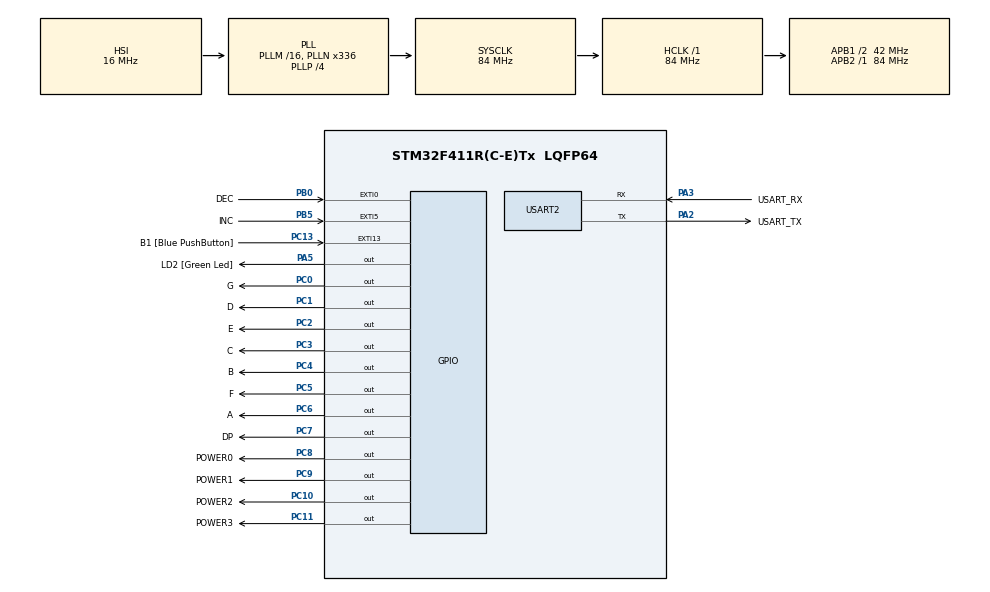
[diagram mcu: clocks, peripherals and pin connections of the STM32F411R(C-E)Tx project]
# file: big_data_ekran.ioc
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Mcu.Family=STM32F4
Mcu.Name=STM32F411R(C-E)Tx
Mcu.Package=LQFP64
NVIC.EXTI0_IRQn=true\:0\:0\:false\:false\:true\:true\:true\:true
NVIC.EXTI9_5_IRQn=true\:0\:0\:false\:false\:true\:true\:true\:true
NVIC.PriorityGroup=NVIC_PRIORITYGROUP_0
NVIC.TIM1_TRG_COM_TIM11_IRQn=true\:0\:0\:false\:false\:true\:true\:true\:true
PA13.GPIO_Label=TMS
PA13.Mode=Serial_Wire
PA13.Signal=SYS_JTMS-SWDIO
PA14.GPIO_Label=TCK
PA14.Mode=Serial_Wire
PA14.Signal=SYS_JTCK-SWCLK
PA2.GPIO_Label=USART_TX
PA2.Mode=Asynchronous
PA2.Signal=USART2_TX
PA3.GPIO_Label=USART_RX
PA3.Mode=Asynchronous
PA3.Signal=USART2_RX
PA5.GPIO_Label=LD2 [Green Led]
PA5.Signal=GPIO_Output
PB0.GPIO_Label=DEC
PB0.GPIO_ModeDefaultEXTI=GPIO_MODE_IT_FALLING
PB0.GPIO_PuPd=GPIO_PULLUP
PB0.Signal=GPXTI0
PB3.GPIO_Label=SWO
PB3.Signal=SYS_JTDO-SWO
PB5.GPIO_Label=INC
PB5.GPIO_ModeDefaultEXTI=GPIO_MODE_IT_FALLING
PB5.GPIO_PuPd=GPIO_PULLUP
PB5.Signal=GPXTI5
PC0.GPIO_Label=G
PC0.Signal=GPIO_Output
PC1.GPIO_Label=D
PC1.Signal=GPIO_Output
PC10.GPIO_Label=POWER2
PC10.Signal=GPIO_Output
PC11.GPIO_Label=POWER3
PC11.Signal=GPIO_Output
PC13-ANTI_TAMP.GPIO_Label=B1 [Blue PushButton]
PC13-ANTI_TAMP.GPIO_ModeDefaultEXTI=GPIO_MODE_IT_FALLING
PC13-ANTI_TAMP.Signal=GPXTI13
PC14-OSC32_IN.Mode=LSE-External-Oscillator
PC14-OSC32_IN.Signal=RCC_OSC32_IN
PC15-OSC32_OUT.Mode=LSE-External-Oscillator
PC15-OSC32_OUT.Signal=RCC_OSC32_OUT
PC2.GPIO_Label=E
PC2.Signal=GPIO_Output
PC3.GPIO_Label=C
PC3.Signal=GPIO_Output
PC4.GPIO_Label=B
PC4.Signal=GPIO_Output
PC5.GPIO_Label=F
PC5.Signal=GPIO_Output
PC6.GPIO_Label=A
PC6.Signal=GPIO_Output
PC7.GPIO_Label=DP
PC7.Signal=GPIO_Output
PC8.GPIO_Label=POWER0
PC8.Signal=GPIO_Output
PC9.GPIO_Label=POWER1
PC9.Signal=GPIO_Output
PH0\ -\ OSC_IN.Mode=HSE-External-Clock-Source
PH0\ -\ OSC_IN.Signal=RCC_OSC_IN
PH1\ -\ OSC_OUT.Mode=HSE-External-Clock-Source
PH1\ -\ OSC_OUT.Signal=RCC_OSC_OUT
ProjectManager.HeapSize=0x200
ProjectManager.StackSize=0x400
ProjectManager.TargetToolchain=STM32CubeIDE
RCC.48MHZClocksFreq_Value=84000000
RCC.AHBFreq_Value=84000000
RCC.APB1CLKDivider=RCC_HCLK_DIV2
RCC.APB1Freq_Value=42000000
RCC.APB1TimFreq_Value=84000000
RCC.APB2Freq_Value=84000000
RCC.APB2TimFreq_Value=84000000
RCC.CortexFreq_Value=84000000
RCC.FLatency-AdvancedSettings=FLASH_LATENCY_2
RCC.HCLKFreq_Value=84000000
RCC.HSE_VALUE=8000000
RCC.HSI_VALUE=16000000
RCC.PLLN=336
RCC.PLLP=RCC_PLLP_DIV4
RCC.SYSCLKFreq_VALUE=84000000
RCC.SYSCLKSource=RCC_SYSCLKSOURCE_PLLCLK
RCC.VCOOutputFreq_Value=336000000
TIM11.Period=20
TIM11.Prescaler=8399
USART2.VirtualMode=VM_ASYNC
VP_TIM11_VS_ClockSourceINT.Mode=Enable_Timer
board=NUCLEO-F411RE

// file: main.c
/* USER CODE BEGIN Header */
/**
  ******************************************************************************
  * @file           : main.c
  * @brief          : Main program body
  ******************************************************************************
  * @attention
  *
  * Copyright (c) 2023 STMicroelectronics.
  * All rights reserved.
  *
  * This software is licensed under terms that can be found in the LICENSE file
  * in the root directory of this software component.
  * If no LICENSE file comes with this software, it is provided AS-IS.
  *
  ******************************************************************************
  */
/* USER CODE END Header */
#include "main.h"

TIM_HandleTypeDef htim11;

UART_HandleTypeDef huart2;

/* USER CODE BEGIN PV */
volatile uint16_t numberToWrite;
volatile uint8_t singleNumber[4];

uint16_t buttonNumber = 0;

volatile uint32_t lastInterrupt = 0;

void turn_off() {

	HAL_GPIO_WritePin(POWER0_GPIO_Port, POWER0_Pin, GPIO_PIN_SET);
	HAL_GPIO_WritePin(POWER1_GPIO_Port, POWER1_Pin, GPIO_PIN_SET);
	HAL_GPIO_WritePin(POWER2_GPIO_Port, POWER2_Pin, GPIO_PIN_SET);
	HAL_GPIO_WritePin(POWER3_GPIO_Port, POWER3_Pin, GPIO_PIN_SET);
}

void set_power_line(uint8_t number) {

	switch(number) {

	case 0:
		HAL_GPIO_WritePin(POWER0_GPIO_Port, POWER0_Pin, GPIO_PIN_RESET);
		HAL_GPIO_WritePin(POWER1_GPIO_Port, POWER1_Pin, GPIO_PIN_SET);
		HAL_GPIO_WritePin(POWER2_GPIO_Port, POWER2_Pin, GPIO_PIN_SET);
		HAL_GPIO_WritePin(POWER3_GPIO_Port, POWER3_Pin, GPIO_PIN_SET);
		break;

	case 1:
		HAL_GPIO_WritePin(POWER0_GPIO_Port, POWER0_Pin, GPIO_PIN_SET);
		HAL_GPIO_WritePin(POWER1_GPIO_Port, POWER1_Pin, GPIO_PIN_RESET);
		HAL_GPIO_WritePin(POWER2_GPIO_Port, POWER2_Pin, GPIO_PIN_SET);
		HAL_GPIO_WritePin(POWER3_GPIO_Port, POWER3_Pin, GPIO_PIN_SET);
		break;

	case 2:
		HAL_GPIO_WritePin(POWER0_GPIO_Port, POWER0_Pin, GPIO_PIN_SET);
		HAL_GPIO_WritePin(POWER1_GPIO_Port, POWER1_Pin, GPIO_PIN_SET);
		HAL_GPIO_WritePin(POWER2_GPIO_Port, POWER2_Pin, GPIO_PIN_RESET);
		HAL_GPIO_WritePin(POWER3_GPIO_Port, POWER3_Pin, GPIO_PIN_SET);
		break;

	case 3:
		HAL_GPIO_WritePin(POWER0_GPIO_Port, POWER0_Pin, GPIO_PIN_SET);
		HAL_GPIO_WritePin(POWER1_GPIO_Port, POWER1_Pin, GPIO_PIN_SET);
		HAL_GPIO_WritePin(POWER2_GPIO_Port, POWER2_Pin, GPIO_PIN_SET);
		HAL_GPIO_WritePin(POWER3_GPIO_Port, POWER3_Pin, GPIO_PIN_RESET);
		break;
	}
}

void set_diodes(uint8_t number) {

	switch(number) {

	case -1:
		turn_off();
		break;

	case 0:
		HAL_GPIO_WritePin(A_GPIO_Port, A_Pin, GPIO_PIN_SET);
		HAL_GPIO_WritePin(G_GPIO_Port, G_Pin, GPIO_PIN_RESET);
		HAL_GPIO_WritePin(D_GPIO_Port, D_Pin, GPIO_PIN_SET);
		HAL_GPIO_WritePin(F_GPIO_Port, F_Pin, GPIO_PIN_SET);
		HAL_GPIO_WritePin(E_GPIO_Port, E_Pin, GPIO_PIN_SET);
		HAL_GPIO_WritePin(B_GPIO_Port, B_Pin, GPIO_PIN_SET);
		HAL_GPIO_WritePin(C_GPIO_Port, C_Pin, GPIO_PIN_SET);
		HAL_GPIO_WritePin(DP_GPIO_Port, DP_Pin, GPIO_PIN_RESET);
		break;

	case 1:
		HAL_GPIO_WritePin(A_GPIO_Port, A_Pin, GPIO_PIN_RESET);
		HAL_GPIO_WritePin(G_GPIO_Port, G_Pin, GPIO_PIN_RESET);
		HAL_GPIO_WritePin(D_GPIO_Port, D_Pin, GPIO_PIN_RESET);
		HAL_GPIO_WritePin(F_GPIO_Port, F_Pin, GPIO_PIN_RESET);
		HAL_GPIO_WritePin(E_GPIO_Port, E_Pin, GPIO_PIN_RESET);
		HAL_GPIO_WritePin(B_GPIO_Port, B_Pin, GPIO_PIN_SET);
		HAL_GPIO_WritePin(C_GPIO_Port, C_Pin, GPIO_PIN_SET);
		HAL_GPIO_WritePin(DP_GPIO_Port, DP_Pin, GPIO_PIN_RESET);
		break;

	case 2:
		HAL_GPIO_WritePin(A_GPIO_Port, A_Pin, GPIO_PIN_SET);
		HAL_GPIO_WritePin(G_GPIO_Port, G_Pin, GPIO_PIN_SET);
		HAL_GPIO_WritePin(D_GPIO_Port, D_Pin, GPIO_PIN_SET);
		HAL_GPIO_WritePin(F_GPIO_Port, F_Pin, GPIO_PIN_RESET);
		HAL_GPIO_WritePin(E_GPIO_Port, E_Pin, GPIO_PIN_SET);
		HAL_GPIO_WritePin(B_GPIO_Port, B_Pin, GPIO_PIN_SET);
		HAL_GPIO_WritePin(C_GPIO_Port, C_Pin, GPIO_PIN_RESET);
		HAL_GPIO_WritePin(DP_GPIO_Port, DP_Pin, GPIO_PIN_RESET);
		break;

	case 3:
		HAL_GPIO_WritePin(A_GPIO_Port, A_Pin, GPIO_PIN_SET);
		HAL_GPIO_WritePin(G_GPIO_Port, G_Pin, GPIO_PIN_SET);
		HAL_GPIO_WritePin(D_GPIO_Port, D_Pin, GPIO_PIN_SET);
		HAL_GPIO_WritePin(F_GPIO_Port, F_Pin, GPIO_PIN_RESET);
		HAL_GPIO_WritePin(E_GPIO_Port, E_Pin, GPIO_PIN_RESET);
		HAL_GPIO_WritePin(B_GPIO_Port, B_Pin, GPIO_PIN_SET);
		HAL_GPIO_WritePin(C_GPIO_Port, C_Pin, GPIO_PIN_SET);
		HAL_GPIO_WritePin(DP_GPIO_Port, DP_Pin, GPIO_PIN_RESET);
		break;

	case 4:
		HAL_GPIO_WritePin(A_GPIO_Port, A_Pin, GPIO_PIN_RESET);
		HAL_GPIO_WritePin(G_GPIO_Port, G_Pin, GPIO_PIN_SET);
		HAL_GPIO_WritePin(D_GPIO_Port, D_Pin, GPIO_PIN_RESET);
		HAL_GPIO_WritePin(F_GPIO_Port, F_Pin, GPIO_PIN_SET);
		HAL_GPIO_WritePin(E_GPIO_Port, E_Pin, GPIO_PIN_RESET);
		HAL_GPIO_WritePin(B_GPIO_Port, B_Pin, GPIO_PIN_SET);
		HAL_GPIO_WritePin(C_GPIO_Port, C_Pin, GPIO_PIN_SET);
		HAL_GPIO_WritePin(DP_GPIO_Port, DP_Pin, GPIO_PIN_RESET);
		break;

	case 5:
		HAL_GPIO_WritePin(A_GPIO_Port, A_Pin, GPIO_PIN_SET);
		HAL_GPIO_WritePin(G_GPIO_Port, G_Pin, GPIO_PIN_SET);
		HAL_GPIO_WritePin(D_GPIO_Port, D_Pin, GPIO_PIN_SET);
		HAL_GPIO_WritePin(F_GPIO_Port, F_Pin, GPIO_PIN_SET);
		HAL_GPIO_WritePin(E_GPIO_Port, E_Pin, GPIO_PIN_RESET);
		HAL_GPIO_WritePin(B_GPIO_Port, B_Pin, GPIO_PIN_RESET);
		HAL_GPIO_WritePin(C_GPIO_Port, C_Pin, GPIO_PIN_SET);
		HAL_GPIO_WritePin(DP_GPIO_Port, DP_Pin, GPIO_PIN_RESET);
		break;

	case 6:
		HAL_GPIO_WritePin(A_GPIO_Port, A_Pin, GPIO_PIN_SET);
		HAL_GPIO_WritePin(G_GPIO_Port, G_Pin, GPIO_PIN_SET);
		HAL_GPIO_WritePin(D_GPIO_Port, D_Pin, GPIO_PIN_SET);
		HAL_GPIO_WritePin(F_GPIO_Port, F_Pin, GPIO_PIN_SET);
		HAL_GPIO_WritePin(E_GPIO_Port, E_Pin, GPIO_PIN_SET);
		HAL_GPIO_WritePin(B_GPIO_Port, B_Pin, GPIO_PIN_RESET);
		HAL_GPIO_WritePin(C_GPIO_Port, C_Pin, GPIO_PIN_SET);
		HAL_GPIO_WritePin(DP_GPIO_Port, DP_Pin, GPIO_PIN_RESET);
		break;

	case 7:
		HAL_GPIO_WritePin(A_GPIO_Port, A_Pin, GPIO_PIN_SET);
		HAL_GPIO_WritePin(G_GPIO_Port, G_Pin, GPIO_PIN_RESET);
		HAL_GPIO_WritePin(D_GPIO_Port, D_Pin, GPIO_PIN_RESET);
		HAL_GPIO_WritePin(F_GPIO_Port, F_Pin, GPIO_PIN_RESET);
		HAL_GPIO_WritePin(E_GPIO_Port, E_Pin, GPIO_PIN_RESET);
		HAL_GPIO_WritePin(B_GPIO_Port, B_Pin, GPIO_PIN_SET);
		HAL_GPIO_WritePin(C_GPIO_Port, C_Pin, GPIO_PIN_SET);
		HAL_GPIO_WritePin(DP_GPIO_Port, DP_Pin, GPIO_PIN_RESET);
		break;

	case 8:
		HAL_GPIO_WritePin(A_GPIO_Port, A_Pin, GPIO_PIN_SET);
		HAL_GPIO_WritePin(G_GPIO_Port, G_Pin, GPIO_PIN_SET);
		HAL_GPIO_WritePin(D_GPIO_Port, D_Pin, GPIO_PIN_SET);
		HAL_GPIO_WritePin(F_GPIO_Port, F_Pin, GPIO_PIN_SET);
		HAL_GPIO_WritePin(E_GPIO_Port, E_Pin, GPIO_PIN_SET);
		HAL_GPIO_WritePin(B_GPIO_Port, B_Pin, GPIO_PIN_SET);
		HAL_GPIO_WritePin(C_GPIO_Port, C_Pin, GPIO_PIN_SET);
		HAL_GPIO_WritePin(DP_GPIO_Port, DP_Pin, GPIO_PIN_RESET);
		break;

	case 9:
		HAL_GPIO_WritePin(A_GPIO_Port, A_Pin, GPIO_PIN_SET);
		HAL_GPIO_WritePin(G_GPIO_Port, G_Pin, GPIO_PIN_SET);
		HAL_GPIO_WritePin(D_GPIO_Port, D_Pin, GPIO_PIN_SET);
		HAL_GPIO_WritePin(F_GPIO_Port, F_Pin, GPIO_PIN_SET);
		HAL_GPIO_WritePin(E_GPIO_Port, E_Pin, GPIO_PIN_RESET);
		HAL_GPIO_WritePin(B_GPIO_Port, B_Pin, GPIO_PIN_SET);
		HAL_GPIO_WritePin(C_GPIO_Port, C_Pin, GPIO_PIN_SET);
		HAL_GPIO_WritePin(DP_GPIO_Port, DP_Pin, GPIO_PIN_RESET);
		break;
	}
}

void HAL_TIM_PeriodElapsedCallback(TIM_HandleTypeDef *htim) {
	static uint8_t counter = 0;
	static uint8_t j;

	if(htim->Instance == TIM11) {

		counter++;

		if(counter >= 4) {
			counter = 0;
		}

		if(counter == 0) {
			uint16_t copy = numberToWrite;
			uint8_t i = 0;

			while(i < 4) {
				uint8_t rest = copy % 10;
				singleNumber[i] = rest;
				copy = copy / 10;
				i++;
			}

			j = 3;
		}

		if(singleNumber[3 - counter] == 0 && j == 3 - counter) {
			turn_off();
			j--;
		}

		else {
			set_power_line(3 - counter);
			set_diodes(singleNumber[3 - counter]);
		}
	}
}

void HAL_GPIO_EXTI_Callback(uint16_t GPIO_Pin) {

	if(GPIO_Pin == INC_Pin || GPIO_Pin == DEC_Pin) {
		uint32_t temp = HAL_GetTick();
		if(temp - lastInterrupt > 150) {

			if(GPIO_Pin == INC_Pin) {
				buttonNumber++;
				if(buttonNumber > 9999) {
					buttonNumber = 9999;
				}
			}

			if(GPIO_Pin == DEC_Pin) {
				buttonNumber--;
				if(buttonNumber < 0) {
					buttonNumber = 0;
				}
			}
		}

		lastInterrupt = temp;
		numberToWrite = buttonNumber;
	}
}

/* USER CODE END PV */

void SystemClock_Config(void);
static void MX_GPIO_Init(void);
static void MX_USART2_UART_Init(void);
static void MX_TIM11_Init(void);

int main(void)
{

  /* MCU Configuration--------------------------------------------------------*/

  /* Reset of all peripherals, Initializes the Flash interface and the Systick. */
  HAL_Init();

  /* Configure the system clock */
  SystemClock_Config();

  /* Initialize all configured peripherals */
  MX_GPIO_Init();
  MX_USART2_UART_Init();
  MX_TIM11_Init();
  /* USER CODE BEGIN 2 */

  HAL_TIM_Base_Start_IT(&htim11);
  numberToWrite = buttonNumber;

  /* USER CODE END 2 */

  /* Infinite loop */
  while (1)
  {

  }
}

void SystemClock_Config(void)
{
  RCC_OscInitTypeDef RCC_OscInitStruct = {0};
  RCC_ClkInitTypeDef RCC_ClkInitStruct = {0};

  /** Configure the main internal regulator output voltage
  */
  __HAL_RCC_PWR_CLK_ENABLE();
  __HAL_PWR_VOLTAGESCALING_CONFIG(PWR_REGULATOR_VOLTAGE_SCALE1);

  /** Initializes the RCC Oscillators according to the specified parameters
  * in the RCC_OscInitTypeDef structure.
  */
  RCC_OscInitStruct.OscillatorType = RCC_OSCILLATORTYPE_HSI;
  RCC_OscInitStruct.HSIState = RCC_HSI_ON;
  RCC_OscInitStruct.HSICalibrationValue = RCC_HSICALIBRATION_DEFAULT;
  RCC_OscInitStruct.PLL.PLLState = RCC_PLL_ON;
  RCC_OscInitStruct.PLL.PLLSource = RCC_PLLSOURCE_HSI;
  RCC_OscInitStruct.PLL.PLLM = 16;
  RCC_OscInitStruct.PLL.PLLN = 336;
  RCC_OscInitStruct.PLL.PLLP = RCC_PLLP_DIV4;
  RCC_OscInitStruct.PLL.PLLQ = 4;
  if (HAL_RCC_OscConfig(&RCC_OscInitStruct) != HAL_OK)
  {
    Error_Handler();
  }

  /** Initializes the CPU, AHB and APB buses clocks
  */
  RCC_ClkInitStruct.ClockType = RCC_CLOCKTYPE_HCLK|RCC_CLOCKTYPE_SYSCLK
                              |RCC_CLOCKTYPE_PCLK1|RCC_CLOCKTYPE_PCLK2;
  RCC_ClkInitStruct.SYSCLKSource = RCC_SYSCLKSOURCE_PLLCLK;
  RCC_ClkInitStruct.AHBCLKDivider = RCC_SYSCLK_DIV1;
  RCC_ClkInitStruct.APB1CLKDivider = RCC_HCLK_DIV2;
  RCC_ClkInitStruct.APB2CLKDivider = RCC_HCLK_DIV1;

  if (HAL_RCC_ClockConfig(&RCC_ClkInitStruct, FLASH_LATENCY_2) != HAL_OK)
  {
    Error_Handler();
  }
}

static void MX_TIM11_Init(void)
{

  htim11.Instance = TIM11;
  htim11.Init.Prescaler = 8399;
  htim11.Init.CounterMode = TIM_COUNTERMODE_UP;
  htim11.Init.Period = 20;
  htim11.Init.ClockDivision = TIM_CLOCKDIVISION_DIV1;
  htim11.Init.AutoReloadPreload = TIM_AUTORELOAD_PRELOAD_DISABLE;
  if (HAL_TIM_Base_Init(&htim11) != HAL_OK)
  {
    Error_Handler();
  }

}

static void MX_USART2_UART_Init(void)
{

  huart2.Instance = USART2;
  huart2.Init.BaudRate = 115200;
  huart2.Init.WordLength = UART_WORDLENGTH_8B;
  huart2.Init.StopBits = UART_STOPBITS_1;
  huart2.Init.Parity = UART_PARITY_NONE;
  huart2.Init.Mode = UART_MODE_TX_RX;
  huart2.Init.HwFlowCtl = UART_HWCONTROL_NONE;
  huart2.Init.OverSampling = UART_OVERSAMPLING_16;
  if (HAL_UART_Init(&huart2) != HAL_OK)
  {
    Error_Handler();
  }

}

static void MX_GPIO_Init(void)
{
  GPIO_InitTypeDef GPIO_InitStruct = {0};

  /* GPIO Ports Clock Enable */
  __HAL_RCC_GPIOC_CLK_ENABLE();
  __HAL_RCC_GPIOH_CLK_ENABLE();
  __HAL_RCC_GPIOA_CLK_ENABLE();
  __HAL_RCC_GPIOB_CLK_ENABLE();

  /*Configure GPIO pin Output Level */
  HAL_GPIO_WritePin(GPIOC, G_Pin|D_Pin|E_Pin|C_Pin
                          |B_Pin|F_Pin|A_Pin|DP_Pin
                          |POWER0_Pin|POWER1_Pin|POWER2_Pin|POWER3_Pin, GPIO_PIN_RESET);

  /*Configure GPIO pin Output Level */
  HAL_GPIO_WritePin(LD2_GPIO_Port, LD2_Pin, GPIO_PIN_RESET);

  /*Configure GPIO pin : B1_Pin */
  GPIO_InitStruct.Pin = B1_Pin;
  GPIO_InitStruct.Mode = GPIO_MODE_IT_FALLING;
  GPIO_InitStruct.Pull = GPIO_NOPULL;
  HAL_GPIO_Init(B1_GPIO_Port, &GPIO_InitStruct);

  /*Configure GPIO pins : G_Pin D_Pin E_Pin C_Pin
                           B_Pin F_Pin A_Pin DP_Pin
                           POWER0_Pin POWER1_Pin POWER2_Pin POWER3_Pin */
  GPIO_InitStruct.Pin = G_Pin|D_Pin|E_Pin|C_Pin
                          |B_Pin|F_Pin|A_Pin|DP_Pin
                          |POWER0_Pin|POWER1_Pin|POWER2_Pin|POWER3_Pin;
  GPIO_InitStruct.Mode = GPIO_MODE_OUTPUT_PP;
  GPIO_InitStruct.Pull = GPIO_NOPULL;
  GPIO_InitStruct.Speed = GPIO_SPEED_FREQ_LOW;
  HAL_GPIO_Init(GPIOC, &GPIO_InitStruct);

  /*Configure GPIO pin : LD2_Pin */
  GPIO_InitStruct.Pin = LD2_Pin;
  GPIO_InitStruct.Mode = GPIO_MODE_OUTPUT_PP;
  GPIO_InitStruct.Pull = GPIO_NOPULL;
  GPIO_InitStruct.Speed = GPIO_SPEED_FREQ_LOW;
  HAL_GPIO_Init(LD2_GPIO_Port, &GPIO_InitStruct);

  /*Configure GPIO pins : DEC_Pin INC_Pin */
  GPIO_InitStruct.Pin = DEC_Pin|INC_Pin;
  GPIO_InitStruct.Mode = GPIO_MODE_IT_FALLING;
  GPIO_InitStruct.Pull = GPIO_PULLUP;
  HAL_GPIO_Init(GPIOB, &GPIO_InitStruct);

  /* EXTI interrupt init*/
  HAL_NVIC_SetPriority(EXTI0_IRQn, 0, 0);
  HAL_NVIC_EnableIRQ(EXTI0_IRQn);

  HAL_NVIC_SetPriority(EXTI9_5_IRQn, 0, 0);
  HAL_NVIC_EnableIRQ(EXTI9_5_IRQn);

}

void Error_Handler(void)
{
  __disable_irq();
  while (1)
  {
  }
}
